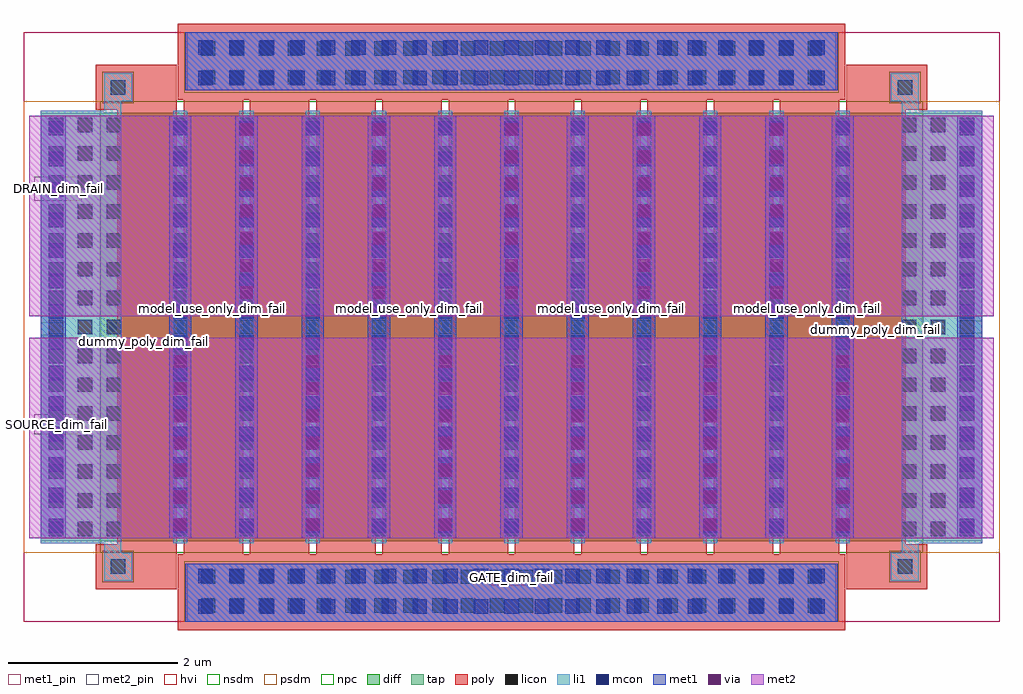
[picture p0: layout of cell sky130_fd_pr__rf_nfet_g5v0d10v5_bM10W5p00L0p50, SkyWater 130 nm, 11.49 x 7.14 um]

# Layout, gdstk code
import gdstk
lib = gdstk.Library(unit=1e-6, precision=1e-09)
def R(c, l, rs):  # rectangles x0, y0, x1, y1
    for r in rs: c.add(gdstk.rectangle(r[:2], r[2:], *l))
def A(c, l, x, y, w, h, nx, ny, dx, dy):  # array of equal rectangles
    R(c, l, [(x+i*dx, y+j*dy, x+i*dx+w, y+j*dy+h) for i in range(nx) for j in range(ny)])
def P(c, l, *ps):  # polygons
    for p in ps: c.add(gdstk.Polygon(p, *l))
diff = (65, 20)
tap = (65, 44)
poly = (66, 20)
licon = (66, 44)
li1 = (67, 20)
mcon = (67, 44)
met1_pin = (68, 16)
met1 = (68, 20)
via = (68, 44)
met2_pin = (69, 16)
met2 = (69, 20)
hvi = (75, 20)
nsdm = (93, 44)
psdm = (94, 20)
npc = (95, 20)

sky130_fd_pr__rf_nfet_g5 = lib.new_cell('sky130_fd_pr__rf_nfet_g5v0d10v5_bM10W5p00L0p50')
R(sky130_fd_pr__rf_nfet_g5, diff, [(0.905,0.945,10.585,5.995)])
R(sky130_fd_pr__rf_nfet_g5, tap, [(0.205,0.945,0.905,5.995), (10.585,0.945,11.285,5.995)])
P(sky130_fd_pr__rf_nfet_g5, poly, [(0.85,0.385),(0.85,0.915),(1.105,0.915),(1.105,6.025),(0.85,6.025),(0.85,6.555),(1.805,6.555),(1.805,0.385)],
  [(9.685,0.385),(9.685,6.555),(10.64,6.555),(10.64,6.025),(10.385,6.025),(10.385,0.915),(10.64,0.915),(10.64,0.385)],
  [(1.815,-0.1),(1.815,0.795),(1.885,0.795),(1.885,6.145),(2.585,6.145),(2.585,0.795),(2.665,0.795),(2.665,6.145),(3.365,6.145),(3.365,0.795),(3.445,0.795),(3.445,6.145),(4.145,6.145),(4.145,0.795),(4.225,0.795),(4.225,6.145),(4.925,6.145),(4.925,0.795),(5.005,0.795),(5.005,6.145),(5.705,6.145),(5.705,0.795),(5.785,0.795),(5.785,6.145),(6.485,6.145),(6.485,0.795),(6.565,0.795),(6.565,6.145),(7.265,6.145),(7.265,0.795),(7.345,0.795),(7.345,6.145),(8.045,6.145),(8.045,0.795),(8.125,0.795),(8.125,6.145),(8.825,6.145),(8.825,0.795),(8.905,0.795),(8.905,6.145),(1.815,6.145),(1.815,7.04),(9.675,7.04),(9.675,6.145),(9.605,6.145),(9.605,0.795),(9.675,0.795),(9.675,-0.1)])
A(sky130_fd_pr__rf_nfet_g5, licon, 2.09, 0.105, 0.17, 0.17, 22, 2, 0.34, 0.34)
A(sky130_fd_pr__rf_nfet_g5, licon, 0.3, 1.005, 0.17, 0.17, 3, 15, 0.34, 0.34)
A(sky130_fd_pr__rf_nfet_g5, licon, 1.76, 1.005, 0.17, 0.17, 12, 15, 0.78, 0.34)
A(sky130_fd_pr__rf_nfet_g5, licon, 10.68, 1.005, 0.17, 0.17, 1, 15, 0, 0.34)
A(sky130_fd_pr__rf_nfet_g5, licon, 11.02, 1.005, 0.17, 0.17, 1, 15, 0, 0.34)
A(sky130_fd_pr__rf_nfet_g5, licon, 2.09, 6.325, 0.17, 0.17, 22, 2, 0.34, 0.34)
R(sky130_fd_pr__rf_nfet_g5, licon, [(1.03,0.565,1.2,0.735), (10.29,0.565,10.46,0.735), (1.03,6.205,1.2,6.375), (10.29,6.205,10.46,6.375)])
A(sky130_fd_pr__rf_nfet_g5, li1, 1.76, 0.925, 0.17, 5.09, 11, 1, 0.78, 0)
A(sky130_fd_pr__rf_nfet_g5, li1, 1.76, 2.125, 0.17, 2.69, 11, 1, 0.78, 0)
R(sky130_fd_pr__rf_nfet_g5, li1, [(1.925,0,9.565,0.685), (0.95,0.485,1.28,0.815), (10.21,0.485,10.54,0.815), (0.95,0.815,1.15,0.925), (10.34,0.815,10.54,0.925), (0.205,0.925,1.15,6.015), (10.34,0.925,11.285,6.015), (0.95,6.015,1.15,6.125), (10.34,6.015,10.54,6.125), (0.95,6.125,1.28,6.455), (10.21,6.125,10.54,6.455), (1.925,6.255,9.565,6.94)])
A(sky130_fd_pr__rf_nfet_g5, mcon, 2.06, 0.095, 0.17, 0.17, 21, 2, 0.36, 0.36)
A(sky130_fd_pr__rf_nfet_g5, mcon, 0.3, 1.045, 0.17, 0.17, 1, 14, 0, 0.36)
A(sky130_fd_pr__rf_nfet_g5, mcon, 1.76, 1.045, 0.17, 0.17, 11, 14, 0.78, 0.36)
A(sky130_fd_pr__rf_nfet_g5, mcon, 11.02, 1.045, 0.17, 0.17, 1, 14, 0, 0.36)
A(sky130_fd_pr__rf_nfet_g5, mcon, 2.06, 6.315, 0.17, 0.17, 21, 2, 0.36, 0.36)
R(sky130_fd_pr__rf_nfet_g5, met1_pin, [(5.49,0.425,5.975,0.6), (0.205,3.375,0.5,3.525), (10.99,3.395,11.285,3.545), (5.48,6.325,6.09,6.49)])
A(sky130_fd_pr__rf_nfet_g5, met1, 1.715, 0.985, 0.26, 2.24, 6, 1, 1.56, 0)
A(sky130_fd_pr__rf_nfet_g5, met1, 1.715, 0.985, 0.26, 4.97, 11, 1, 0.78, 0)
A(sky130_fd_pr__rf_nfet_g5, met1, 2.495, 3.715, 0.26, 2.24, 5, 1, 1.56, 0)
R(sky130_fd_pr__rf_nfet_g5, met1, [(1.905,0,9.585,0.685), (0.205,0.985,0.5,5.955), (10.99,0.985,11.285,5.955), (1.905,6.255,9.585,6.94)])
A(sky130_fd_pr__rf_nfet_g5, via, 1.77, 1.07, 0.15, 0.15, 6, 7, 1.56, 0.32)
A(sky130_fd_pr__rf_nfet_g5, via, 2.55, 3.8, 0.15, 0.15, 5, 7, 1.56, 0.32)
R(sky130_fd_pr__rf_nfet_g5, met2_pin, [(0.125,2.21,0.64,2.44), (0.125,4.955,0.685,5.24)])
A(sky130_fd_pr__rf_nfet_g5, met2, 1.715, 0.985, 0.26, 2.24, 6, 1, 1.56, 0)
A(sky130_fd_pr__rf_nfet_g5, met2, 2.495, 3.715, 0.26, 2.24, 5, 1, 1.56, 0)
R(sky130_fd_pr__rf_nfet_g5, met2, [(0.07,0.985,11.42,3.345), (0.07,3.595,11.42,5.955)])
R(sky130_fd_pr__rf_nfet_g5, hvi, [(0,0,11.49,6.94)])
R(sky130_fd_pr__rf_nfet_g5, nsdm, [(0.905,0.815,10.585,6.125)])
R(sky130_fd_pr__rf_nfet_g5, psdm, [(0,0.815,0.905,6.125), (10.585,0.815,11.49,6.125)])
R(sky130_fd_pr__rf_nfet_g5, npc, [(1.895,0,9.595,0.715), (0.93,0.465,1.3,0.835), (10.19,0.465,10.56,0.835), (0.93,6.105,1.3,6.475), (10.19,6.105,10.56,6.475), (1.895,6.225,9.595,6.94)])
sky130_fd_pr__rf_nfet_g5.add(gdstk.Label('dummy_poly_dim_fail', (10.025,3.435), layer=83, texttype=44))
sky130_fd_pr__rf_nfet_g5.add(gdstk.Label('dummy_poly_dim_fail', (1.415,3.3), layer=83, texttype=44))
sky130_fd_pr__rf_nfet_g5.add(gdstk.Label('GATE_dim_fail', (5.745,0.52), layer=68, texttype=5))
sky130_fd_pr__rf_nfet_g5.add(gdstk.Label('model_use_only_dim_fail', (9.23,3.685), layer=66, texttype=83))
sky130_fd_pr__rf_nfet_g5.add(gdstk.Label('model_use_only_dim_fail', (8.49,3.685), layer=66, texttype=83))
sky130_fd_pr__rf_nfet_g5.add(gdstk.Label('model_use_only_dim_fail', (7.71,3.685), layer=66, texttype=83))
sky130_fd_pr__rf_nfet_g5.add(gdstk.Label('model_use_only_dim_fail', (6.92,3.685), layer=66, texttype=83))
sky130_fd_pr__rf_nfet_g5.add(gdstk.Label('model_use_only_dim_fail', (6.115,3.685), layer=66, texttype=83))
sky130_fd_pr__rf_nfet_g5.add(gdstk.Label('model_use_only_dim_fail', (5.31,3.685), layer=66, texttype=83))
sky130_fd_pr__rf_nfet_g5.add(gdstk.Label('model_use_only_dim_fail', (4.545,3.685), layer=66, texttype=83))
sky130_fd_pr__rf_nfet_g5.add(gdstk.Label('model_use_only_dim_fail', (3.78,3.685), layer=66, texttype=83))
sky130_fd_pr__rf_nfet_g5.add(gdstk.Label('model_use_only_dim_fail', (3.015,3.685), layer=66, texttype=83))
sky130_fd_pr__rf_nfet_g5.add(gdstk.Label('model_use_only_dim_fail', (2.23,3.685), layer=66, texttype=83))
sky130_fd_pr__rf_nfet_g5.add(gdstk.Label('model_use_only_dim_fail', (9.99,3.555), layer=66, texttype=83))
sky130_fd_pr__rf_nfet_g5.add(gdstk.Label('model_use_only_dim_fail', (1.435,3.54), layer=66, texttype=83))
sky130_fd_pr__rf_nfet_g5.add(gdstk.Label('SUBSTRATE', (11.1,3.475), layer=68, texttype=16))
sky130_fd_pr__rf_nfet_g5.add(gdstk.Label('SUBSTRATE', (0.335,3.455), layer=68, texttype=16))
sky130_fd_pr__rf_nfet_g5.add(gdstk.Label('SOURCE_dim_fail', (0.385,2.325), layer=69, texttype=5))
sky130_fd_pr__rf_nfet_g5.add(gdstk.Label('DRAIN_dim_fail', (0.41,5.095), layer=69, texttype=5))

lib.write_gds('sky130_fd_pr__rf_nfet_g5v0d10v5_bM10W5p00L0p50.gds')
